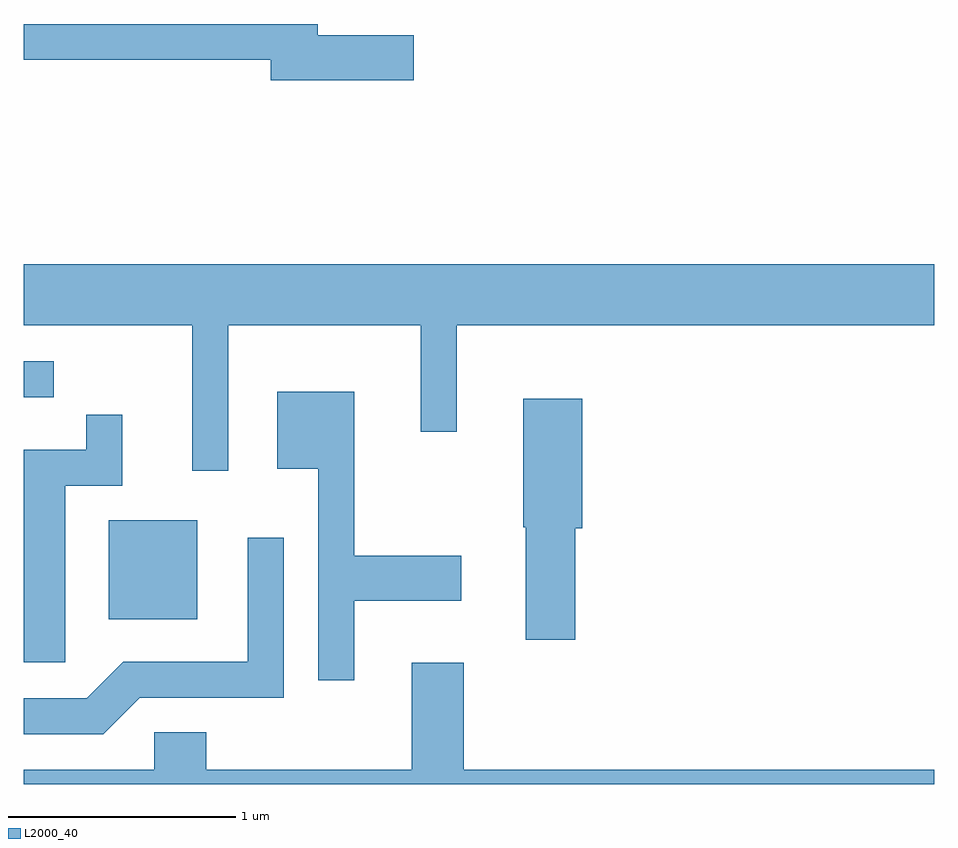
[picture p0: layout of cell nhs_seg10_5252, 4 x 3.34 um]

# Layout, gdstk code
import gdstk
lib = gdstk.Library(unit=1e-6, precision=1e-09)
def R(c, l, rs):  # rectangles x0, y0, x1, y1
    for r in rs: c.add(gdstk.rectangle(r[:2], r[2:], *l))
def P(c, l, *ps):  # polygons
    for p in ps: c.add(gdstk.Polygon(p, *l))
L2000_40 = (2000, 40)

nhs_seg10_5252 = lib.new_cell('nhs_seg10_5252')
R(nhs_seg10_5252, L2000_40, [(339.986,2159.246,340.374,2159.679), (339.611,2160.221,339.743,2160.379)])
P(nhs_seg10_5252, L2000_40, [(341.324,2161.809),(340.904,2161.809),(340.904,2161.859),(339.611,2161.859),(339.611,2161.701),(340.696,2161.701),(340.696,2161.611),(341.324,2161.611)],
  [(340.509,2160.536),(341.356,2160.536),(341.356,2160.068),(341.514,2160.068),(341.514,2160.536),(343.611,2160.536),(343.611,2160.804),(339.611,2160.804),(339.611,2160.536),(340.351,2160.536),(340.351,2159.898),(340.509,2159.898)],
  [(341.064,2159.326),(341.534,2159.326),(341.534,2159.524),(341.064,2159.524),(341.064,2160.244),(340.726,2160.244),(340.726,2159.906),(340.906,2159.906),(340.906,2158.978),(341.064,2158.978)],
  [(342.034,2159.646),(342.064,2159.646),(342.064,2160.214),(341.806,2160.214),(341.806,2159.65),(341.816,2159.65),(341.816,2159.156),(342.034,2159.156)],
  [(339.794,2159.831),(340.044,2159.831),(340.044,2160.143),(339.886,2160.143),(339.886,2159.989),(339.611,2159.989),(339.611,2159.056),(339.794,2159.056)],
  [(340.122,2158.901),(340.754,2158.901),(340.754,2159.603),(340.596,2159.603),(340.596,2159.059),(340.049,2159.059),(339.889,2158.899),(339.611,2158.899),(339.611,2158.741),(339.962,2158.741)],
  [(343.611,2158.584),(341.544,2158.584),(341.544,2159.054),(341.316,2159.054),(341.316,2158.584),(340.414,2158.584),(340.414,2158.749),(340.186,2158.749),(340.186,2158.584),(339.611,2158.584),(339.611,2158.522),(343.611,2158.522)])

lib.write_gds('nhs_seg10_5252.gds')
